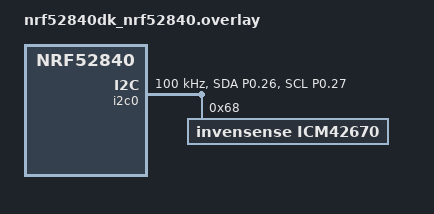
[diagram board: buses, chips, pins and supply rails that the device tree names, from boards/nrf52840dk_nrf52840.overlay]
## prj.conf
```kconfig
# Enable GPIO
CONFIG_GPIO=y

# Enable I2C
CONFIG_I2C=y
CONFIG_I2C_NRFX=y
CONFIG_NRFX_TWIM0=y
CONFIG_I2C_INIT_PRIORITY=70

# Enable sensors subsystem
CONFIG_SENSOR=y

# Enable ICM42670 sensor driver
CONFIG_ICM42670=y
#CONFIG_ICM42670_TRIGGER_NONE=y

# Enable console for output
CONFIG_CONSOLE=y
CONFIG_UART_CONSOLE=y

# Enable printf and floating point
CONFIG_PRINTK=y
CONFIG_STDOUT_CONSOLE=y
CONFIG_CBPRINTF_FP_SUPPORT=y

# Disable SPI since we're using I2C
CONFIG_SPI=n
```

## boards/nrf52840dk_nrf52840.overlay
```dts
/ {
	chosen {
		zephyr,console = &uart0;
	};
};

&pinctrl {
	i2c0_default: i2c0_default {
		group1 {
			psels = <NRF_PSEL(TWIM_SDA, 0, 26)>,
				<NRF_PSEL(TWIM_SCL, 0, 27)>;
			bias-pull-up;
		};
	};

	i2c0_sleep: i2c0_sleep {
		group1 {
			psels = <NRF_PSEL(TWIM_SDA, 0, 26)>,
				<NRF_PSEL(TWIM_SCL, 0, 27)>;
			low-power-enable;
		};
	};
};

&i2c0 {
	compatible = "nordic,nrf-twim";
	status = "okay";
	pinctrl-0 = <&i2c0_default>;
	pinctrl-1 = <&i2c0_sleep>;
	pinctrl-names = "default", "sleep";
	clock-frequency = <100000>;

	icm42670: icm42670@68 {
		compatible = "invensense,icm42670";
		reg = <0x68>;
		status = "okay";
		accel-hz = <100>;
		gyro-hz = <100>;
		accel-fs = <16>;
		gyro-fs = <2000>;
	};
};
```

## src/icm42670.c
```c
/**
 * @file      icm42670.c
 * @author    Taimur Islam Khan (taimurislamkhan@gmail.com)
 * 
 * @brief     Implementation of ICM42670 6-axis IMU sensor driver interface.
 *            This module provides functions for reading accelerometer and
 *            gyroscope data from the ICM42670 sensor. The sensor communicates
 *            over I2C and uses the Zephyr sensor driver framework. The driver
 *            supports configurable sample rates and can read acceleration and
 *            angular velocity data in all three axes.
 * 
 * @version   0.1
 * @date      25-01-2025
 * @copyright Copyright (c) 2025, Taimur Islam Khan
 */

#include "icm42670.h"
#include <stdio.h>
#include <zephyr/kernel.h>

#define INIT_RETRY_DELAY_MS 1000  /* Delay between retry attempts in milliseconds */
#define MAX_INIT_ATTEMPTS 10      /* Maximum number of initialization attempts */

/** Static device pointer for the ICM42670 sensor */
static const struct device *icm42670_dev;

/**
 * @brief Initialize the ICM42670 sensor driver
 * 
 * This function initializes the ICM42670 sensor driver by getting the device
 * binding and checking if the device is ready. It will keep retrying if the
 * device is not ready, with a delay between attempts.
 * 
 * @return int 0 on success, negative errno code on failure
 */
int icm42670_init(void)
{
    int attempts = 0;
    int ret = -ENODEV;

    /* Get device binding */
    icm42670_dev = DEVICE_DT_GET_ONE(invensense_icm42670);

    if (icm42670_dev == NULL) {
        printk("Error: Device not found in devicetree\n");
        return -ENODEV;
    }

    while (attempts < MAX_INIT_ATTEMPTS) {
        if (device_is_ready(icm42670_dev)) {
            printk("ICM42670 initialized successfully after %d attempts\n", attempts + 1);
            return 0;
        }

        printk("Device not ready, attempt %d of %d. Retrying in %d ms...\n", 
               attempts + 1, MAX_INIT_ATTEMPTS, INIT_RETRY_DELAY_MS);
        k_msleep(INIT_RETRY_DELAY_MS);
        attempts++;
    }

    printk("Error: Device failed to initialize after %d attempts\n", MAX_INIT_ATTEMPTS);
    return -ENODEV;
}

/**
 * @brief Helper function to fetch latest sensor data
 * 
 * This function fetches the latest sensor data from the ICM42670 sensor.
 * 
 * @return int 0 on success, negative errno code on failure
 */
static int fetch_sensor_data(void)
{
    int ret = sensor_sample_fetch(icm42670_dev);
    if (ret < 0) {
        printk("Error: Failed to fetch sensor data: %d\n", ret);
        return ret;
    }
    return 0;
}

/**
 * @brief Read all sensor data (acceleration and gyroscope)
 * 
 * This function reads all sensor data (acceleration and gyroscope) from the
 * ICM42670 sensor and stores it in the provided data structure.
 * 
 * @param data Pointer to the data structure to store the sensor data
 * @return int 0 on success, negative errno code on failure
 */
int icm42670_read_all(struct icm42670_data *data)
{
    int ret;
    struct sensor_value accel[3], gyro[3];

    /* Fetch sensor data */
    ret = fetch_sensor_data();
    if (ret < 0) {
        return ret;
    }

    /* Get acceleration data */
    ret = sensor_channel_get(icm42670_dev, SENSOR_CHAN_ACCEL_XYZ, accel);
    if (ret < 0) {
        printk("Error: Failed to get acceleration data: %d\n", ret);
        return ret;
    }

    /* Get gyroscope data */
    ret = sensor_channel_get(icm42670_dev, SENSOR_CHAN_GYRO_XYZ, gyro);
    if (ret < 0) {
        printk("Error: Failed to get gyroscope data: %d\n", ret);
        return ret;
    }

    /* Convert to double and store in data structure */
    data->accel_x = sensor_value_to_double(&accel[0]);
    data->accel_y = sensor_value_to_double(&accel[1]);
    data->accel_z = sensor_value_to_double(&accel[2]);
    data->gyro_x = sensor_value_to_double(&gyro[0]);
    data->gyro_y = sensor_value_to_double(&gyro[1]);
    data->gyro_z = sensor_value_to_double(&gyro[2]);

    return 0;
}

/**
 * @brief Read acceleration data from the ICM42670 sensor
 * 
 * This function reads acceleration data from the ICM42670 sensor and stores it
 * in the provided data structure.
 * 
 * @param data Pointer to the data structure to store the acceleration data
 * @return int 0 on success, negative errno code on failure
 */
int icm42670_read_accel(struct icm42670_data *data)
{
    int ret;
    struct sensor_value accel[3];

    /* Fetch sensor data */
    ret = fetch_sensor_data();
    if (ret < 0) {
        return ret;
    }

    /* Get acceleration data */
    ret = sensor_channel_get(icm42670_dev, SENSOR_CHAN_ACCEL_XYZ, accel);
    if (ret < 0) {
        printk("Error: Failed to get acceleration data: %d\n", ret);
        return ret;
    }

    /* Convert to double and store in data structure */
    data->accel_x = sensor_value_to_double(&accel[0]);
    data->accel_y = sensor_value_to_double(&accel[1]);
    data->accel_z = sensor_value_to_double(&accel[2]);

    return 0;
}

/**
 * @brief Read gyroscope data from the ICM42670 sensor
 * 
 * This function reads gyroscope data from the ICM42670 sensor and stores it in
 * the provided data structure.
 * 
 * @param data Pointer to the data structure to store the gyroscope data
 * @return int 0 on success, negative errno code on failure
 */
int icm42670_read_gyro(struct icm42670_data *data)
{
    int ret;
    struct sensor_value gyro[3];

    /* Fetch sensor data */
    ret = fetch_sensor_data();
    if (ret < 0) {
        return ret;
    }

    /* Get gyroscope data */
    ret = sensor_channel_get(icm42670_dev, SENSOR_CHAN_GYRO_XYZ, gyro);
    if (ret < 0) {
        printk("Error: Failed to get gyroscope data: %d\n", ret);
        return ret;
    }

    /* Convert to double and store in data structure */
    data->gyro_x = sensor_value_to_double(&gyro[0]);
    data->gyro_y = sensor_value_to_double(&gyro[1]);
    data->gyro_z = sensor_value_to_double(&gyro[2]);

    return 0;
}

/**
 * @brief Set the accelerometer sampling rate
 * 
 * This function sets the accelerometer sampling rate of the ICM42670 sensor.
 * 
 * @param rate The desired sampling rate
 * @return int 0 on success, negative errno code on failure
 */
int icm42670_set_accel_rate(uint16_t rate)
{
    struct sensor_value value;
    value.val1 = rate;
    value.val2 = 0;

    int ret = sensor_attr_set(icm42670_dev, SENSOR_CHAN_ACCEL_XYZ,
                            SENSOR_ATTR_SAMPLING_FREQUENCY, &value);
    if (ret < 0) {
        printk("Error: Failed to set accelerometer rate: %d\n", ret);
        return ret;
    }

    return 0;
}

/**
 * @brief Set the gyroscope sampling rate
 * 
 * This function sets the gyroscope sampling rate of the ICM42670 sensor.
 * 
 * @param rate The desired sampling rate
 * @return int 0 on success, negative errno code on failure
 */
int icm42670_set_gyro_rate(uint16_t rate)
{
    struct sensor_value value;
    value.val1 = rate;
    value.val2 = 0;

    int ret = sensor_attr_set(icm42670_dev, SENSOR_CHAN_GYRO_XYZ,
                            SENSOR_ATTR_SAMPLING_FREQUENCY, &value);
    if (ret < 0) {
        printk("Error: Failed to set gyroscope rate: %d\n", ret);
        return ret;
    }

    return 0;
}
```
